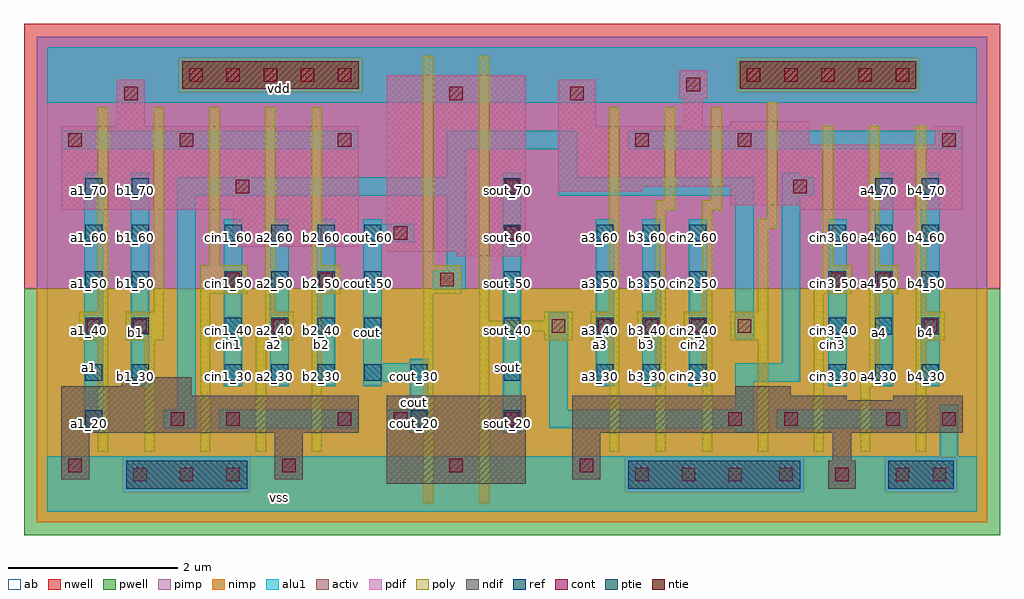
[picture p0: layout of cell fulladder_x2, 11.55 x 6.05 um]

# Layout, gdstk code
import gdstk
lib = gdstk.Library(unit=1e-6, precision=2.5e-09)
def R(c, l, rs):  # rectangles x0, y0, x1, y1
    for r in rs: c.add(gdstk.rectangle(r[:2], r[2:], *l))
def A(c, l, x, y, w, h, nx, ny, dx, dy):  # array of equal rectangles
    R(c, l, [(x+i*dx, y+j*dy, x+i*dx+w, y+j*dy+h) for i in range(nx) for j in range(ny)])
ndif = (3, 0)
pdif = (4, 0)
ntie = (5, 0)
ptie = (6, 0)
ref = (24, 0)
cont = (25, 0)
pwell = (41, 0)
nwell = (42, 0)
activ = (43, 0)
pimp = (44, 0)
nimp = (45, 0)
poly = (46, 0)
alu1 = (49, 0)
ab = (63, 0)

fulladder_x2 = lib.new_cell('fulladder_x2')
R(fulladder_x2, ndif, [(9.24,0.275,9.57,0.605), (4.015,0.33,5.665,1.375), (0.165,0.385,0.495,0.935), (2.695,0.385,3.025,0.935), (6.215,0.385,6.545,0.935), (9.295,0.605,9.515,0.935), (0.165,0.935,3.685,1.375), (6.215,0.935,10.835,1.32), (6.215,1.32,9.46,1.375), (10.01,1.32,10.835,1.375), (0.165,1.375,1.705,1.485), (8.14,1.375,8.8,1.485), (0.88,1.485,1.705,1.595)])
R(fulladder_x2, pdif, [(4.84,3.025,5.665,3.08), (4.015,3.08,5.665,5.17), (2.2,3.135,3.685,3.575), (0.165,3.575,3.685,4.565), (8.91,3.575,10.835,3.63), (8.085,3.63,10.835,3.85), (6.05,3.795,7.04,3.85), (6.05,3.85,10.835,4.345), (6.05,4.345,9.02,4.565), (10.505,4.345,10.835,4.565), (0.825,4.565,1.155,5.115), (6.05,4.565,6.49,5.115), (7.535,4.565,7.755,4.895), (8.085,4.565,9.02,4.62), (7.48,4.895,7.81,5.225)])
R(fulladder_x2, ntie, [(1.595,5.005,3.685,5.335), (8.195,5.005,10.285,5.335)])
R(fulladder_x2, ptie, [(0.935,0.275,2.365,0.605), (6.875,0.275,8.91,0.605), (9.955,0.275,10.725,0.605)])
A(fulladder_x2, ref, 0.45, 1, 0.2, 0.2, 1, 6, 0, 0.55)
A(fulladder_x2, ref, 5.4, 1, 0.2, 0.2, 1, 5, 0, 0.55)
A(fulladder_x2, ref, 1, 1.55, 0.2, 0.2, 1, 4, 0, 0.55)
A(fulladder_x2, ref, 2.1, 1.55, 0.2, 0.2, 5, 1, 0.55, 0)
A(fulladder_x2, ref, 6.5, 1.55, 0.2, 0.2, 3, 4, 0.55, 0.55)
A(fulladder_x2, ref, 9.25, 1.55, 0.2, 0.2, 3, 4, 0.55, 0.55)
A(fulladder_x2, ref, 2.1, 2.1, 0.2, 0.2, 4, 3, 0.55, 0.55)
A(fulladder_x2, ref, 1, 3.75, 0.2, 0.2, 3, 1, 4.4, 0)
R(fulladder_x2, ref, [(4.3,1,4.5,1.2), (10.35,3.75,10.55,3.95)])
A(fulladder_x2, cont, 1.02, 0.36, 0.16, 0.16, 3, 1, 0.55, 0)
A(fulladder_x2, cont, 6.96, 0.36, 0.16, 0.16, 3, 1, 0.55, 0)
A(fulladder_x2, cont, 5.97, 2.12, 0.16, 0.16, 5, 1, 0.55, 0)
A(fulladder_x2, cont, 1.68, 5.09, 0.16, 0.16, 5, 1, 0.44, 0)
A(fulladder_x2, cont, 8.28, 5.09, 0.16, 0.16, 5, 1, 0.44, 0)
R(fulladder_x2, cont, [(8.665,0.36,8.825,0.52), (9.325,0.36,9.485,0.52), (10.04,0.36,10.2,0.52), (10.48,0.36,10.64,0.52), (0.25,0.47,0.41,0.63), (2.78,0.47,2.94,0.63), (4.76,0.47,4.92,0.63), (6.3,0.47,6.46,0.63), (1.46,1.02,1.62,1.18), (2.12,1.02,2.28,1.18), (3.44,1.02,3.6,1.18), (4.1,1.02,4.26,1.18), (5.42,1.02,5.58,1.18), (8.06,1.02,8.22,1.18), (8.72,1.02,8.88,1.18), (9.93,1.02,10.09,1.18), (10.59,1.02,10.75,1.18), (0.47,2.12,0.63,2.28), (1.02,2.12,1.18,2.28), (2.67,2.12,2.83,2.28), (10.37,2.12,10.53,2.28), (2.12,2.67,2.28,2.83), (3.22,2.67,3.38,2.83), (4.65,2.67,4.81,2.83), (9.27,2.67,9.43,2.83), (9.82,2.67,9.98,2.83), (4.1,3.22,4.26,3.38), (5.42,3.22,5.58,3.38), (2.23,3.77,2.39,3.93), (5.42,3.77,5.58,3.93), (8.83,3.77,8.99,3.93), (0.25,4.32,0.41,4.48), (1.57,4.32,1.73,4.48), (3.44,4.32,3.6,4.48), (6.96,4.32,7.12,4.48), (8.17,4.32,8.33,4.48), (10.59,4.32,10.75,4.48), (0.91,4.87,1.07,5.03), (4.76,4.87,4.92,5.03), (6.19,4.87,6.35,5.03), (7.565,4.98,7.725,5.14)])
R(fulladder_x2, pwell, [(-0.275,-0.275,11.275,2.64)])
R(fulladder_x2, nwell, [(-0.275,2.64,11.275,5.775)])
R(fulladder_x2, activ, [(0.935,0.275,2.365,0.605), (6.875,0.275,8.91,0.605), (9.24,0.275,9.57,0.605), (9.955,0.275,10.725,0.605), (4.015,0.33,5.665,1.375), (0.165,0.385,0.495,0.935), (2.695,0.385,3.025,0.935), (6.215,0.385,6.545,0.935), (9.295,0.605,9.515,0.935), (0.165,0.935,3.685,1.375), (6.215,0.935,10.835,1.32), (6.215,1.32,9.46,1.375), (10.01,1.32,10.835,1.375), (0.165,1.375,1.705,1.485), (8.14,1.375,8.8,1.485), (0.88,1.485,1.705,1.595), (4.84,3.025,5.665,3.08), (4.015,3.08,5.665,5.17), (2.2,3.135,3.685,3.575), (0.165,3.575,3.685,4.565), (8.91,3.575,10.835,3.63), (8.085,3.63,10.835,3.85), (6.05,3.795,7.04,3.85), (6.05,3.85,10.835,4.345), (6.05,4.345,9.02,4.565), (10.505,4.345,10.835,4.565), (0.825,4.565,1.155,5.115), (6.05,4.565,6.49,5.115), (7.535,4.565,7.755,4.895), (8.085,4.565,9.02,4.62), (7.48,4.895,7.81,5.225), (1.595,5.005,3.685,5.335), (8.195,5.005,10.285,5.335)])
R(fulladder_x2, pimp, [(0.895,0.235,2.405,0.645), (6.835,0.235,8.95,0.645), (9.915,0.235,10.765,0.645), (-0.125,2.64,11.125,4.965), (-0.125,4.965,1.555,5.375), (3.725,4.965,8.155,5.375), (10.325,4.965,11.125,5.375), (-0.125,5.375,11.125,5.625)])
R(fulladder_x2, nimp, [(-0.125,-0.125,11.125,0.235), (-0.125,0.235,0.895,0.645), (2.405,0.235,6.835,0.645), (8.95,0.235,9.915,0.645), (10.765,0.235,11.125,0.645), (-0.125,0.645,11.125,2.64), (1.555,4.965,3.725,5.375), (8.155,4.965,10.325,5.375)])
A(fulladder_x2, poly, 6.65, 0.71, 0.12, 1.32, 3, 1, 0.55, 0)
A(fulladder_x2, poly, 6.43, 2.03, 0.34, 0.34, 3, 1, 0.55, 0)
R(fulladder_x2, poly, [(4.45,0.105,4.57,2.58), (5.11,0.105,5.23,2.14), (0.6,0.71,0.72,2.03), (1.15,0.71,1.27,2.03), (1.81,0.71,1.93,2.58), (2.47,0.71,2.59,2.03), (3.13,0.71,3.25,2.58), (8.41,0.71,8.53,2.03), (9.07,0.71,9.19,2.58), (9.62,0.71,9.74,1.48), (10.28,0.71,10.4,2.03), (9.62,1.48,9.85,1.6), (9.73,1.6,9.85,2.58), (0.38,2.03,0.72,2.37), (0.93,2.03,1.38,2.37), (2.47,2.03,2.92,2.15), (5.88,2.03,6.22,2.14), (8.08,2.03,8.53,2.37), (10.28,2.03,10.62,2.37), (5.11,2.14,6.22,2.26), (2.58,2.15,2.92,2.37), (5.11,2.26,5.23,5.395), (5.88,2.26,6.22,2.37), (0.6,2.37,0.72,4.79), (1.26,2.37,1.38,4.79), (2.58,2.37,2.7,4.79), (6.65,2.37,6.77,4.79), (7.2,2.37,7.32,3.57), (7.75,2.37,7.87,3.57), (8.41,2.37,8.53,3.35), (10.28,2.37,10.4,4.57), (1.81,2.58,2.37,2.92), (3.13,2.58,3.47,2.92), (4.45,2.58,4.9,2.92), (9.07,2.58,9.52,2.7), (9.73,2.58,10.07,2.92), (9.18,2.7,9.52,2.92), (1.92,2.92,2.04,4.79), (3.13,2.92,3.25,4.79), (4.45,2.92,4.57,5.395), (9.18,2.92,9.3,4.57), (9.73,2.92,9.85,4.57), (8.41,3.35,8.64,3.47), (8.52,3.47,8.64,4.845), (7.2,3.57,7.43,3.69), (7.75,3.57,7.98,3.69), (7.31,3.69,7.43,4.79), (7.86,3.69,7.98,4.79)])
A(fulladder_x2, alu1, 2.09, 1.485, 0.22, 1.98, 3, 1, 0.55, 0)
A(fulladder_x2, alu1, 6.49, 1.485, 0.22, 1.98, 3, 1, 0.55, 0)
R(fulladder_x2, alu1, [(0,0,11,0.66), (10.56,0.66,10.78,1.265), (0.44,0.935,0.66,4.015), (4.29,0.935,4.51,0.99), (5.39,0.935,5.61,4.015), (8.14,0.935,8.36,0.99), (1.375,0.99,1.76,1.21), (2.035,0.99,3.685,1.21), (4.015,0.99,4.51,1.21), (5.94,0.99,8.36,1.21), (8.635,0.99,10.175,1.21), (1.54,1.21,1.76,3.74), (4.29,1.21,4.51,1.54), (5.94,1.21,6.16,2.365), (8.14,1.21,8.36,1.54), (0.99,1.485,1.21,4.015), (3.74,1.485,3.96,1.54), (9.24,1.485,9.46,3.465), (9.79,1.485,10.01,4.015), (10.34,1.485,10.56,4.015), (3.74,1.54,4.51,1.76), (8.14,1.54,8.91,1.76), (3.74,1.76,3.96,3.19), (4.29,1.76,4.51,1.815), (8.69,1.76,8.91,3.74), (8.14,2.035,8.36,3.74), (4.565,2.64,4.95,2.86), (4.73,2.86,4.95,3.74), (3.74,3.19,4.345,3.41), (3.74,3.41,3.96,3.465), (1.54,3.74,4.95,3.96), (6.05,3.74,8.36,3.96), (8.69,3.74,9.075,3.96), (4.73,3.96,4.95,4.29), (6.05,3.96,6.27,4.29), (8.69,3.96,8.91,4.015), (0.165,4.29,3.685,4.51), (4.73,4.29,6.27,4.51), (6.875,4.29,10.835,4.51), (0,4.84,11,5.5)])
R(fulladder_x2, ab, [(0,0,11,5.5)])
fulladder_x2.add(gdstk.Label('vss', (2.75,0.165), layer=49, texttype=0))
fulladder_x2.add(gdstk.Label('b4', (10.395,2.1175), layer=49, texttype=0))
fulladder_x2.add(gdstk.Label('a4', (9.845,2.1175), layer=49, texttype=0))
fulladder_x2.add(gdstk.Label('cin3', (9.295,1.98), layer=49, texttype=0))
fulladder_x2.add(gdstk.Label('cin2', (7.645,1.98), layer=49, texttype=0))
fulladder_x2.add(gdstk.Label('b3', (7.095,1.98), layer=49, texttype=0))
fulladder_x2.add(gdstk.Label('a3', (6.545,1.98), layer=49, texttype=0))
fulladder_x2.add(gdstk.Label('sout', (5.445,1.705), layer=49, texttype=0))
fulladder_x2.add(gdstk.Label('cout', (4.345,1.2925), layer=49, texttype=0))
fulladder_x2.add(gdstk.Label('cout', (3.795,2.1175), layer=49, texttype=0))
fulladder_x2.add(gdstk.Label('b2', (3.245,1.98), layer=49, texttype=0))
fulladder_x2.add(gdstk.Label('a2', (2.695,1.98), layer=49, texttype=0))
fulladder_x2.add(gdstk.Label('cin1', (2.145,1.98), layer=49, texttype=0))
fulladder_x2.add(gdstk.Label('b1', (1.045,2.1175), layer=49, texttype=0))
fulladder_x2.add(gdstk.Label('a1', (0.495,1.705), layer=49, texttype=0))
fulladder_x2.add(gdstk.Label('vdd', (2.75,5.005), layer=49, texttype=0))
fulladder_x2.add(gdstk.Label('cout_30', (4.35,1.6), layer=24, texttype=0))
fulladder_x2.add(gdstk.Label('a1_30', (0.5,1.6), layer=24, texttype=0))
fulladder_x2.add(gdstk.Label('a1_40', (0.5,2.15), layer=24, texttype=0))
fulladder_x2.add(gdstk.Label('a1_50', (0.5,2.7), layer=24, texttype=0))
fulladder_x2.add(gdstk.Label('a1_60', (0.5,3.25), layer=24, texttype=0))
fulladder_x2.add(gdstk.Label('b1_30', (1.05,1.6), layer=24, texttype=0))
fulladder_x2.add(gdstk.Label('b1_40', (1.05,2.15), layer=24, texttype=0))
fulladder_x2.add(gdstk.Label('b1_50', (1.05,2.7), layer=24, texttype=0))
fulladder_x2.add(gdstk.Label('b1_60', (1.05,3.25), layer=24, texttype=0))
fulladder_x2.add(gdstk.Label('cin1_30', (2.15,1.6), layer=24, texttype=0))
fulladder_x2.add(gdstk.Label('cin1_40', (2.15,2.15), layer=24, texttype=0))
fulladder_x2.add(gdstk.Label('cin1_50', (2.15,2.7), layer=24, texttype=0))
fulladder_x2.add(gdstk.Label('cin1_60', (2.15,3.25), layer=24, texttype=0))
fulladder_x2.add(gdstk.Label('a2_30', (2.7,1.6), layer=24, texttype=0))
fulladder_x2.add(gdstk.Label('a2_40', (2.7,2.15), layer=24, texttype=0))
fulladder_x2.add(gdstk.Label('a2_50', (2.7,2.7), layer=24, texttype=0))
fulladder_x2.add(gdstk.Label('a2_60', (2.7,3.25), layer=24, texttype=0))
fulladder_x2.add(gdstk.Label('b2_30', (3.25,1.6), layer=24, texttype=0))
fulladder_x2.add(gdstk.Label('b2_40', (3.25,2.15), layer=24, texttype=0))
fulladder_x2.add(gdstk.Label('b2_50', (3.25,2.7), layer=24, texttype=0))
fulladder_x2.add(gdstk.Label('b2_60', (3.25,3.25), layer=24, texttype=0))
fulladder_x2.add(gdstk.Label('cout_30', (3.8,1.6), layer=24, texttype=0))
fulladder_x2.add(gdstk.Label('cout_40', (3.8,2.15), layer=24, texttype=0))
fulladder_x2.add(gdstk.Label('cout_50', (3.8,2.7), layer=24, texttype=0))
fulladder_x2.add(gdstk.Label('cout_60', (3.8,3.25), layer=24, texttype=0))
fulladder_x2.add(gdstk.Label('cout_20', (4.35,1.05), layer=24, texttype=0))
fulladder_x2.add(gdstk.Label('sout_20', (5.45,1.05), layer=24, texttype=0))
fulladder_x2.add(gdstk.Label('sout_30', (5.45,1.6), layer=24, texttype=0))
fulladder_x2.add(gdstk.Label('sout_40', (5.45,2.15), layer=24, texttype=0))
fulladder_x2.add(gdstk.Label('sout_50', (5.45,2.7), layer=24, texttype=0))
fulladder_x2.add(gdstk.Label('sout_60', (5.45,3.25), layer=24, texttype=0))
fulladder_x2.add(gdstk.Label('sout_70', (5.45,3.8), layer=24, texttype=0))
fulladder_x2.add(gdstk.Label('a3_30', (6.55,1.6), layer=24, texttype=0))
fulladder_x2.add(gdstk.Label('a3_40', (6.55,2.15), layer=24, texttype=0))
fulladder_x2.add(gdstk.Label('a3_50', (6.55,2.7), layer=24, texttype=0))
fulladder_x2.add(gdstk.Label('a3_60', (6.55,3.25), layer=24, texttype=0))
fulladder_x2.add(gdstk.Label('b3_30', (7.1,1.6), layer=24, texttype=0))
fulladder_x2.add(gdstk.Label('b3_40', (7.1,2.15), layer=24, texttype=0))
fulladder_x2.add(gdstk.Label('b3_50', (7.1,2.7), layer=24, texttype=0))
fulladder_x2.add(gdstk.Label('b3_60', (7.1,3.25), layer=24, texttype=0))
fulladder_x2.add(gdstk.Label('cin2_30', (7.65,1.6), layer=24, texttype=0))
fulladder_x2.add(gdstk.Label('cin2_40', (7.65,2.15), layer=24, texttype=0))
fulladder_x2.add(gdstk.Label('cin2_50', (7.65,2.7), layer=24, texttype=0))
fulladder_x2.add(gdstk.Label('cin2_60', (7.65,3.25), layer=24, texttype=0))
fulladder_x2.add(gdstk.Label('cin3_30', (9.3,1.6), layer=24, texttype=0))
fulladder_x2.add(gdstk.Label('cin3_40', (9.3,2.15), layer=24, texttype=0))
fulladder_x2.add(gdstk.Label('cin3_50', (9.3,2.7), layer=24, texttype=0))
fulladder_x2.add(gdstk.Label('cin3_60', (9.3,3.25), layer=24, texttype=0))
fulladder_x2.add(gdstk.Label('a4_30', (9.85,1.6), layer=24, texttype=0))
fulladder_x2.add(gdstk.Label('a4_40', (9.85,2.15), layer=24, texttype=0))
fulladder_x2.add(gdstk.Label('a4_50', (9.85,2.7), layer=24, texttype=0))
fulladder_x2.add(gdstk.Label('a4_60', (9.85,3.25), layer=24, texttype=0))
fulladder_x2.add(gdstk.Label('b4_30', (10.4,1.6), layer=24, texttype=0))
fulladder_x2.add(gdstk.Label('b4_40', (10.4,2.15), layer=24, texttype=0))
fulladder_x2.add(gdstk.Label('b4_50', (10.4,2.7), layer=24, texttype=0))
fulladder_x2.add(gdstk.Label('b4_60', (10.4,3.25), layer=24, texttype=0))
fulladder_x2.add(gdstk.Label('a1_20', (0.5,1.05), layer=24, texttype=0))
fulladder_x2.add(gdstk.Label('a1_70', (0.5,3.8), layer=24, texttype=0))
fulladder_x2.add(gdstk.Label('b1_70', (1.05,3.8), layer=24, texttype=0))
fulladder_x2.add(gdstk.Label('a4_70', (9.85,3.8), layer=24, texttype=0))
fulladder_x2.add(gdstk.Label('b4_70', (10.4,3.8), layer=24, texttype=0))

lib.write_gds('fulladder_x2.gds')
